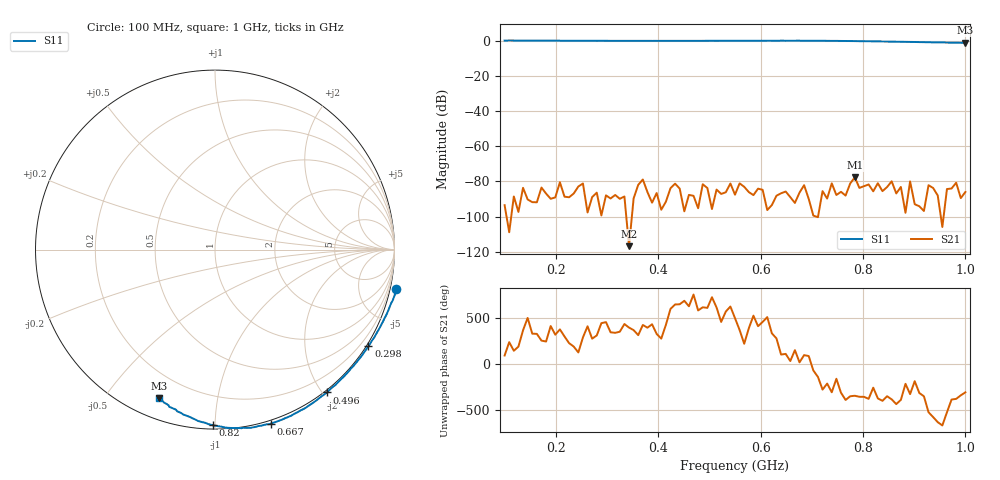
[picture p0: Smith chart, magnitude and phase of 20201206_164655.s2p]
# HZ S RI R 50
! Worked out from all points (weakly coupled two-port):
!   101 points, 100 MHz to 1 GHz, reference 50 ohm
!   highest |S21| = -77.64 dB at 784 MHz (marker M1); lowest = -116.9 dB at 343 MHz (marker M2)
!   lowest |S11| = -1.1 dB at 1 GHz (marker M3), VSWR 16.45, Z = 4.48 - j34.3 ohm
!   |S11| at or under -10 dB: nowhere
!   S12 and S22 are empty: the file has one direction only
!   S11 on the Smith chart (normalised r, x): 100 MHz: -1.26, -9.10; 298 MHz: -0.07, -3.47; 496 MHz: -0.03, -2.05; 667 MHz: -0.03, -1.37; 820 MHz: 0.02, -0.99; 1 GHz: 0.09, -0.69
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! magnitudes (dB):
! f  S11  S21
! 100 MHz  0.3  -93.5
! 109 MHz  0.3  -108.9
! 253 MHz  0.1  -81.2
! 298 MHz  0.1  -87.9
! 343 MHz  0.1  -116.9
! 361 MHz  0.1  -81.9
! 370 MHz  0.1  -78.9
! 379 MHz  0.1  -86.1
! 406 MHz  0.1  -96.1
! 496 MHz  0.1  -83.8
! 550 MHz  0.1  -87.5
! 667 MHz  0.2  -92.2
! 703 MHz  0.1  -99.4
! 775 MHz  0.0  -81.2
! 784 MHz  -0.1  -77.6
! 793 MHz  -0.1  -83.7
! 820 MHz  -0.2  -85.6
! 847 MHz  -0.3  -83.2
! 856 MHz  -0.4  -79.9
! 865 MHz  -0.4  -86.8
! 892 MHz  -0.5  -80.0
! 1 GHz  -1.1  -86.0
